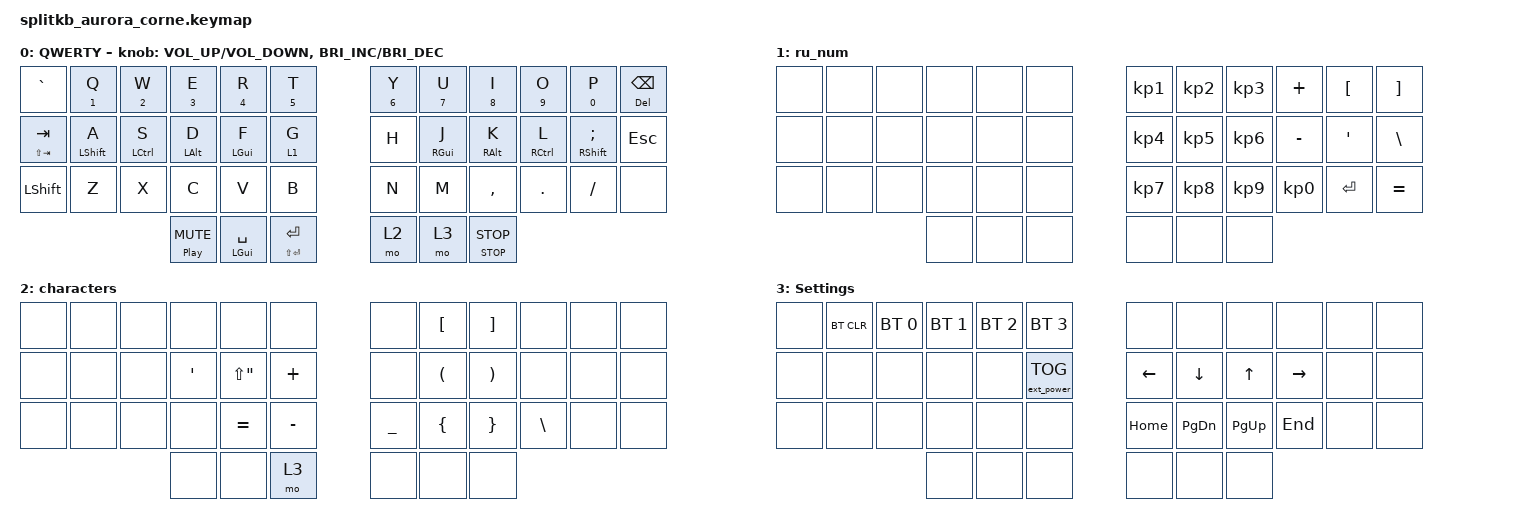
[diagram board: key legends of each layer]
#include <behaviors.dtsi>
#include <dt-bindings/zmk/bt.h>
#include <dt-bindings/zmk/ext_power.h>
#include <dt-bindings/zmk/keys.h>

// layers
// keys

#define HYPER LS(LC(LA(LGUI)))

/ {
    conditional_layers { compatible = "zmk,conditional-layers"; };

    macros {
        next_desktop: next_desktop {
            compatible = "zmk,behavior-macro";
            #binding-cells = <0>;
            bindings = <&kp LEFT_CONTROL &kp RIGHT>;
            label = "NEXT_DESKTOP";
        };

        previous_desktop: previous_desktop {
            compatible = "zmk,behavior-macro";
            #binding-cells = <0>;
            bindings = <&kp LEFT_CONTROL &kp LEFT>;
            label = "PREVIOUS_DESKTOP";
        };
    };

    behaviors {
        ht: hold_tap {
            compatible = "zmk,behavior-hold-tap";
            label = "HOLD_TAP";
            #binding-cells = <2>;
            tapping-term-ms = <200>;
            quick_tap_ms = <0>;
            flavor = "tap-preferred";
            bindings = <&kp>, <&kp>;
        };

        rotary_desktop_move: rotary_desktop_move {
            compatible = "zmk,behavior-sensor-rotate";
            label = "ROTARY_DESKTOP_MOVE";
            #sensor-binding-cells = <0>;
            bindings = <&next_desktop>, <&previous_desktop>;
        };

        sensor_rotate_var: sensor_rotate_var {
            compatible = "zmk,behavior-sensor-rotate-var";
            label = "SENSOR_ROTATE_VAR";
            #sensor-binding-cells = <2>;
            bindings = <&kp>, <&kp>;
        };
    };

    keymap {
        compatible = "zmk,keymap";

        QWERTY {
            bindings = <
&kp GRAVE        &ht NUMBER_1 Q    &ht NUMBER_2 W      &ht NUMBER_3 E           &ht NUMBER_4 R      &ht NUMBER_5 T         &ht NUMBER_6 Y  &ht NUMBER_7 U  &ht NUMBER_8 I     &ht NUMBER_9 O  &ht NUMBER_0 P             &mt DELETE BACKSPACE
&ht LS(TAB) TAB  &mt LEFT_SHIFT A  &mt LEFT_CONTROL S  &mt LEFT_ALT D           &mt LGUI F          &lt 1 G                &kp H           &mt RGUI J      &mt RIGHT_ALT K    &mt RCTRL L     &mt RIGHT_SHIFT SEMICOLON  &kp ESCAPE
&kp LEFT_SHIFT   &kp Z             &kp X               &kp C                    &kp V               &kp B                  &kp N           &kp M           &kp COMMA          &kp DOT         &kp FSLH                   &none
                                                       &ht C_PLAY_PAUSE C_MUTE  &mt LEFT_GUI SPACE  &ht LS(ENTER) ENTER    &mo 2           &mo 3           &ht C_STOP C_STOP
            >;

            sensor-bindings =
                <&inc_dec_kp K_VOLUME_UP K_VOLUME_DOWN>,
                <&inc_dec_kp C_BRIGHTNESS_INC C_BRIGHTNESS_DEC>;

            label = "QWERTY";
        };

        ru_num {
            bindings = <
&none  &none  &none  &none  &none  &none    &kp KP_N1  &kp KP_N2  &kp KP_N3  &kp PLUS   &kp LBKT  &kp RBKT
&none  &none  &none  &none  &none  &none    &kp KP_N4  &kp KP_N5  &kp KP_N6  &kp MINUS  &kp SQT   &kp BSLH
&none  &none  &none  &none  &none  &none    &kp KP_N7  &kp KP_N8  &kp KP_N9  &kp KP_N0  &kp ENTER &kp EQUAL
                     &none  &none  &none    &none       &none      &none
            >;
        };

        characters {
            bindings = <
&none  &none  &none  &none    &none        &none        &none      &kp LEFT_BRACKET      &kp RIGHT_BRACKET      &none          &none  &none
&none  &none  &none  &kp SQT  &kp LS(DQT)  &kp PLUS     &none      &kp LEFT_PARENTHESIS  &kp RIGHT_PARENTHESIS  &none          &none  &none
&none  &none  &none  &none    &kp EQUAL    &kp MINUS    &kp UNDER  &kp LEFT_BRACE        &kp RIGHT_BRACE        &kp BACKSLASH  &none  &none
                     &none    &none        &mo 3        &none      &none                 &none
            >;
        };

        Settings {
            bindings = <
&none  &bt BT_CLR  &bt BT_SEL 0  &bt BT_SEL 1  &bt BT_SEL 2  &bt BT_SEL 3         &none           &none          &none        &none      &none  &none
&none  &none       &none         &none         &none         &ext_power EP_TOG    &kp LEFT_ARROW  &kp DOWN       &kp UP       &kp RIGHT  &none  &none
&none  &none       &none         &none         &none         &none                &kp HOME        &kp PAGE_DOWN  &kp PAGE_UP  &kp END    &none  &none
                                 &none         &none         &none                &none           &none          &none
            >;

            label = "Settings ";
        };
    };
};

// template
//  ┌──┬──┬──┬──┬──┬──┐      ┌──┬──┬──┬──┬──┬──┐
//  │  │  │  │  │  │  │      │  │  │  │  │  │  │
//  ├──┼──┼──┼──┼──┼──┤      ├──┼──┼──┼──┼──┼──┤
//  │  │  │  │  │  │  │      │  │  │  │  │  │  │
//  ├──┼──┼──┼──┼──┼──┤      ├──┼──┼──┼──┼──┼──┤
//  │  │  │  │  │  │  │      │  │  │  │  │  │  │
//  └──┴──┴──┴─┬┴─┬┴─┬┴─┐   ┌┴─┬┴─┬┴─┬┴──┴──┴──┘
//             │  │  │  │   │  │  │  │
//             └──┴──┴──┘   └──┴──┴──┘
